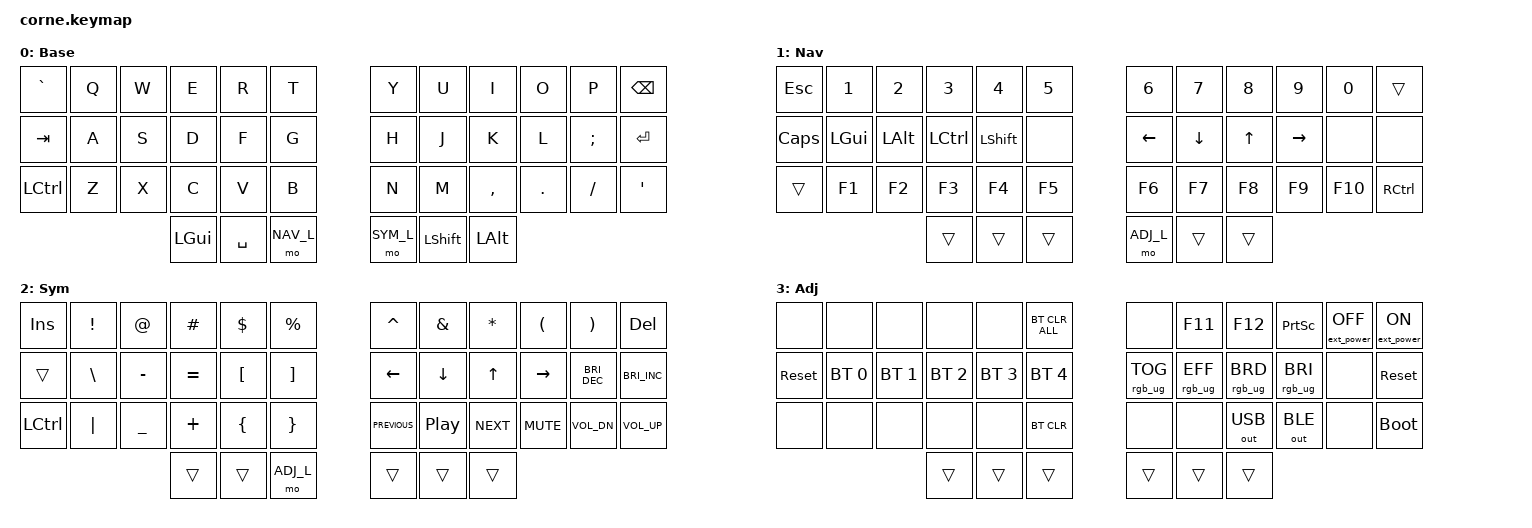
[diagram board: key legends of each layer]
/*
 * Copyright (c) 2020 The ZMK Contributors
 *
 * SPDX-License-Identifier: MIT
 */

#include <behaviors.dtsi>
#include <dt-bindings/zmk/keys.h>
#include <dt-bindings/zmk/bt.h>
#include <dt-bindings/zmk/ext_power.h>
#include <dt-bindings/zmk/outputs.h>
#include <dt-bindings/zmk/rgb.h>

#include "layout/corne.dtsi"

#define BASE  0
#define NAV_L 1
#define SYM_L 2
#define ADJ_L 3

/ {
    chosen {
        zmk,physical-layout = &default_layout;
    };

    combos {
        compatible = "zmk,combos";

        /* NAV + SYM simultaneously → ZMK Studio unlock */
        combo_studio_unlock {
            timeout-ms = <50>;
            key-positions = <38 39>;
            bindings = <&studio_unlock>;
            layers = <BASE>;
        };

        /* Top-left + Bottom-left outer keys → bootloader (left half, any layer) */
        combo_bootloader_left {
            timeout-ms = <50>;
            key-positions = <0 24>;
            bindings = <&bootloader>;
        };

        /* Top-right + Bottom-right outer keys → bootloader (right half, any layer) */
        combo_bootloader_right {
            timeout-ms = <50>;
            key-positions = <11 35>;
            bindings = <&bootloader>;
        };
    };

    keymap {
        compatible = "zmk,keymap";

        default_layer {
            /* QWERTY
             * -----------------------------------------------------------------------
             * |  ` |  Q |  W |  E |  R |  T |   |  Y |  U |  I |  O |  P | BSPC |
             * | TAB|  A |  S |  D |  F |  G |   |  H |  J |  K |  L |  ; |  ENT |
             * |CTRL|  Z |  X |  C |  V |  B |   |  N |  M |  , |  . |  / |   '  |
             *               | GUI| SPC| NAV|   | SYM|SHFT| ALT|
             */
            display-name = "Base";
            bindings = <
&kp GRAVE  &kp Q  &kp W  &kp E     &kp R      &kp T       &kp Y      &kp U      &kp I      &kp O    &kp P     &kp BSPC
&kp TAB    &kp A  &kp S  &kp D     &kp F      &kp G       &kp H      &kp J      &kp K      &kp L    &kp SEMI  &kp ENTER
&kp LCTRL  &kp Z  &kp X  &kp C     &kp V      &kp B       &kp N      &kp M      &kp COMMA  &kp DOT  &kp FSLH  &kp SQT
                          &kp LGUI  &kp SPACE  &mo NAV_L   &mo SYM_L  &kp LSHFT  &kp LALT
            >;
        };

        nav_layer {
            /* NAV
             * -----------------------------------------------------------------------
             * | ESC|  1 |  2 |  3 |  4 |  5 |   |  6 |  7 |  8 |  9 |  0 | BSPC |
             * |CAPS| GUI| ALT|CTRL|SHFT|    |   |LEFT|DOWN| UP |RGHT|    |      |
             * |    |  F1|  F2|  F3|  F4|  F5|   |  F6|  F7|  F8|  F9| F10|RCTRL |
             *               |    |    |    |   | ADJ|    |    |
             */
            display-name = "Nav";
            bindings = <
&kp ESC       &kp N1    &kp N2    &kp N3     &kp N4     &kp N5    &kp N6     &kp N7    &kp N8  &kp N9     &kp N0   &trans
&kp CAPSLOCK  &kp LGUI  &kp LALT  &kp LCTRL  &kp LSHFT  &none     &kp LEFT   &kp DOWN  &kp UP  &kp RIGHT  &none    &none
&trans        &kp F1    &kp F2    &kp F3     &kp F4     &kp F5    &kp F6     &kp F7    &kp F8  &kp F9     &kp F10  &kp RCTRL
                                  &trans     &trans     &trans    &mo ADJ_L  &trans    &trans
            >;
        };

        sym_layer {
            /* SYM
             * -----------------------------------------------------------------------
             * | INS|  ! |  @ |  # |  $ |  % |   |  ^ |  & |  * |  ( |  ) |  DEL |
             * |    |  \ |  - |  = |  [ |  ] |   |LEFT|DOWN| UP |RGHT|BDN | BUP  |
             * |CTRL|  | |  _ |  + |  { |  } |   |PRV | PP |NXT |MUTE| V- |  V+  |
             *               |    |    | ADJ|   |    |    |    |
             */
            display-name = "Sym";
            bindings = <
&kp INS    &kp EXCL  &kp AT     &kp HASH  &kp DLLR  &kp PRCNT     &kp CARET       &kp AMPS          &kp ASTRK  &kp LPAR   &kp RPAR              &kp DEL
&trans     &kp BSLH  &kp MINUS  &kp EQUAL &kp LBKT  &kp RBKT      &kp LEFT        &kp DOWN          &kp UP     &kp RIGHT  &kp C_BRIGHTNESS_DEC  &kp C_BRIGHTNESS_INC
&kp LCTRL  &kp PIPE  &kp UNDER  &kp PLUS  &kp LBRC  &kp RBRC      &kp C_PREVIOUS  &kp C_PLAY_PAUSE  &kp C_NEXT &kp K_MUTE &kp C_VOL_DN          &kp C_VOL_UP
                                &trans    &trans    &mo ADJ_L     &trans          &trans            &trans
            >;
        };

        adj_layer {
            /* ADJ
             * -----------------------------------------------------------------------
             * |    |    |    |    |    |BTCA|   |    | F11| F12|PRNT|EP- |EP+ |
             * | RST| BT0| BT1| BT2| BT3| BT4|   |TOG |EFF |BR- |BR+ |    | RST |
             * |    |    |    |    |    |BTCL|   |    |    |USB |BLE |    |BOOT |
             *               |    |    |    |   |    |    |    |
             */
            display-name = "Adj";
            bindings = <
&none       &none         &none         &none         &none         &bt BT_CLR_ALL    &none             &kp F11           &kp F12          &kp PRINTSCREEN   &ext_power EP_OFF  &ext_power EP_ON
&sys_reset  &bt BT_SEL 0  &bt BT_SEL 1  &bt BT_SEL 2  &bt BT_SEL 3  &bt BT_SEL 4      &rgb_ug RGB_TOG   &rgb_ug RGB_EFF   &rgb_ug RGB_BRD  &rgb_ug RGB_BRI   &none              &sys_reset
&none       &none         &none         &none         &none         &bt BT_CLR        &none             &none             &out OUT_USB     &out OUT_BLE      &none              &bootloader
                                        &trans        &trans        &trans            &trans            &trans            &trans
            >;
        };
    };
};
